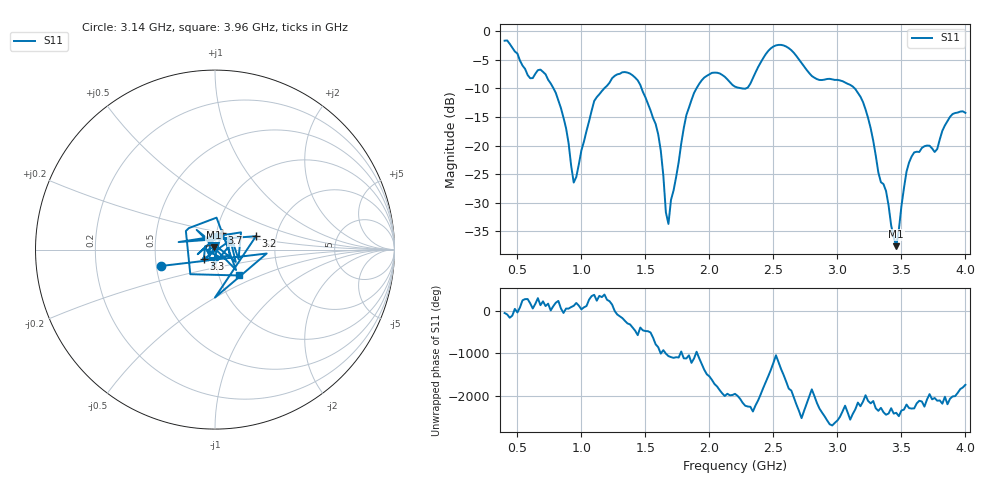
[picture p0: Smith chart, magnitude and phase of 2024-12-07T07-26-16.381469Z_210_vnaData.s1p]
!Created with skrf (http://scikit-rf.org).
# Hz S RI R 50.0
!freq ReS11 ImS11
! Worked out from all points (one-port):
!   181 points, 400 MHz to 4 GHz, reference 50 ohm
!   lowest |S11| = -37.6 dB at 3.46 GHz (marker M1), VSWR 1.03, Z = 49.4 + j1.19 ohm
!   |S11| at or under -10 dB: 781.9 MHz to 1.179 GHz (396.6 MHz wide, 40.5 % of centre); 1.47 GHz to 1.899 GHz (429.2 MHz wide, 25.5 % of centre); 3.135 GHz to end of sweep (the widest 3 of 4)
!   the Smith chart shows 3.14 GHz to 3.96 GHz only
!   S11 on the Smith chart (normalised r, x): 3.14 GHz: 0.53, -0.11; 3.2 GHz: 1.57, +0.25; 3.3 GHz: 0.88, -0.09; 3.7 GHz: 1.06, +0.20; 3.96 GHz: 1.25, -0.38
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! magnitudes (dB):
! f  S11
! 400 MHz  -1.7
! 600 MHz  -8.2
! 720 MHz  -7.5
! 860 MHz  -15.1
! 940 MHz  -26.5
! 1.1 GHz  -12.2
! 1.3 GHz  -7.4
! 1.44 GHz  -8.6
! 1.58 GHz  -16.2
! 1.62 GHz  -20.9
! 1.68 GHz  -33.7
! 1.76 GHz  -22.9
! 1.82 GHz  -14.7
! 1.94 GHz  -8.6
! 2.2 GHz  -9.7
! 2.3 GHz  -9.9
! 2.5 GHz  -2.7
! 2.66 GHz  -3.8
! 3.1 GHz  -9.4
! 3.14 GHz  -10.1
! 3.2 GHz  -12.4
! 3.3 GHz  -21.8
! 3.46 GHz  -37.6
! 3.56 GHz  -23.0
! 3.7 GHz  -20.0
! 3.76 GHz  -21.1
! 3.96 GHz  -14.1
! 4 GHz  -14.3
